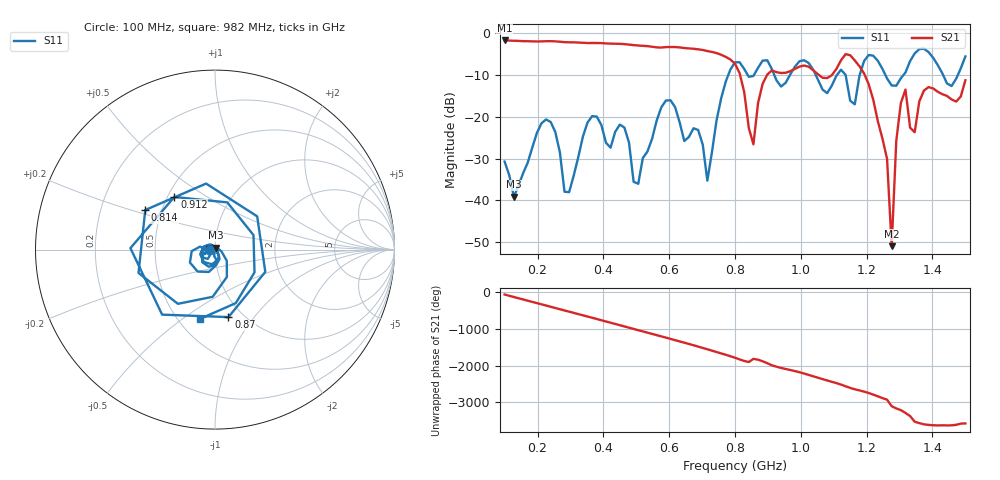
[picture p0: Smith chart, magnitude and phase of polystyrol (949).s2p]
! NanoVNA-App
! Date: 2025-09-25 15:37:16
! Start: 100MHz Stop: 1,5GHz Points: 101
! S-Parameter data: F S11 S21 S12 S22
# Hz S RI R 50
!  Frequency  S11_Real  S11_Imag  S21_Real  S21_Imag  S12_Real  S12_Imag  S22_Real  S22_Imag
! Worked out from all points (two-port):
!   101 points, 100 MHz to 1.5 GHz, reference 50 ohm
!   highest |S21| = -1.80 dB at 100 MHz (marker M1); lowest = -50.9 dB at 1.276 GHz (marker M2)
!   |S21| within 3 dB of the highest: start of sweep to 743.5 MHz
!   lowest |S11| = -39.1 dB at 128 MHz (marker M3), VSWR 1.02, Z = 50.3 + j1.06 ohm
!   |S11| at or under -10 dB: start of sweep to 779.8 MHz; 1.045 GHz to 1.11 GHz (65.24 MHz wide, 6.05 % of centre); 1.257 GHz to 1.312 GHz (55.65 MHz wide, 4.33 % of centre) (the widest 3 of 7)
!   S12 and S22 are empty: the file has one direction only
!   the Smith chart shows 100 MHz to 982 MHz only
!   S11 on the Smith chart (normalised r, x): 100 MHz: 0.94, -0.01; 814 MHz: 0.41, +0.22; 870 MHz: 0.86, -0.75; 912 MHz: 0.54, +0.37; 982 MHz: 0.64, -0.58
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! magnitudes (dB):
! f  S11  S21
! 100 MHz  -30.7  -1.8
! 128 MHz  -39.1  -1.9
! 212 MHz  -21.6  -2.0
! 282 MHz  -37.9  -2.2
! 338 MHz  -24.7  -2.4
! 464 MHz  -22.6  -2.7
! 506 MHz  -36.0  -3.0
! 576 MHz  -17.8  -3.5
! 716 MHz  -35.3  -4.3
! 800 MHz  -7.0  -7.4
! 814 MHz  -7.0  -9.6
! 856 MHz  -10.3  -26.6
! 870 MHz  -8.3  -16.8
! 912 MHz  -8.6  -9.0
! 982 MHz  -8.1  -8.6
! 1.038 GHz  -8.8  -8.9
! 1.192 GHz  -6.7  -9.7
! 1.262 GHz  -10.9  -30.1
! 1.276 GHz  -12.5  -50.9
! 1.29 GHz  -12.6  -25.7
! 1.318 GHz  -9.4  -13.5
! 1.5 GHz  -5.6  -11.3
